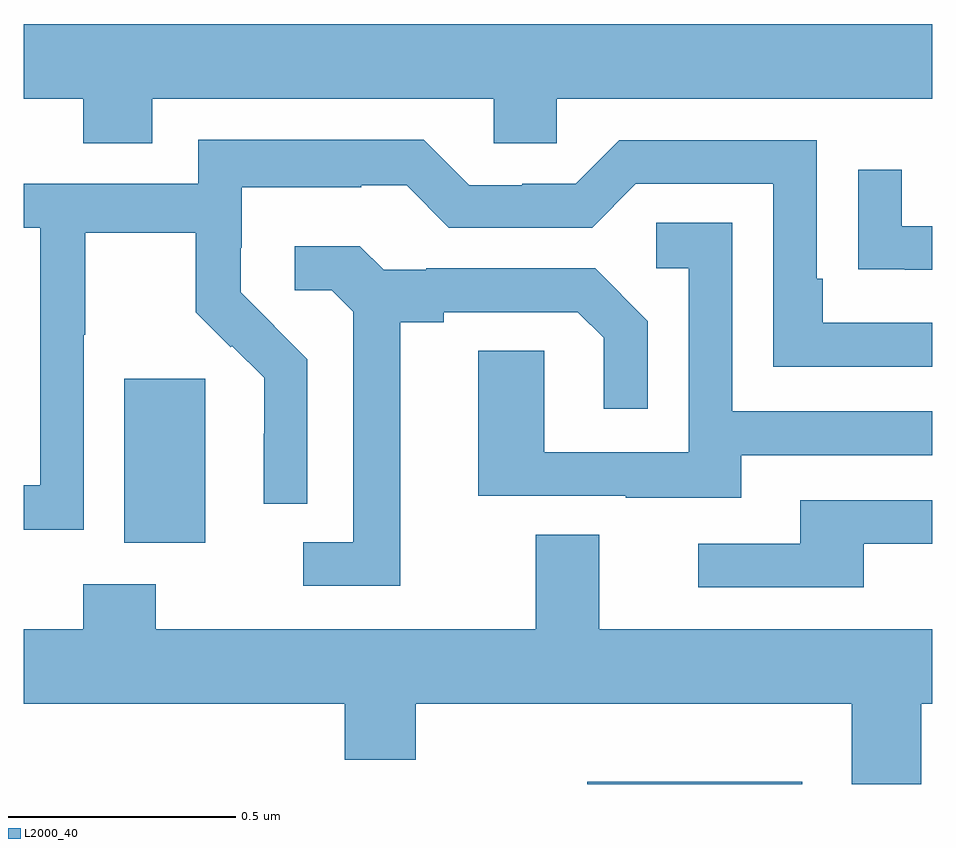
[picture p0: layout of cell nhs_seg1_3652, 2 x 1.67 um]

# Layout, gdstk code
import gdstk
lib = gdstk.Library(unit=1e-6, precision=1e-09)
def R(c, l, rs):  # rectangles x0, y0, x1, y1
    for r in rs: c.add(gdstk.rectangle(r[:2], r[2:], *l))
def P(c, l, *ps):  # polygons
    for p in ps: c.add(gdstk.Polygon(p, *l))
L2000_40 = (2000, 40)

nhs_seg1_3652 = lib.new_cell('nhs_seg1_3652')
R(nhs_seg1_3652, L2000_40, [(157.241,574.199,157.714,574.204), (156.221,574.73,156.4,575.091)])
P(nhs_seg1_3652, L2000_40, [(156.283,575.708),(157.035,575.708),(157.035,575.61),(157.173,575.61),(157.173,575.708),(158,575.708),(158,575.872),(156,575.872),(156,575.708),(156.131,575.708),(156.131,575.609),(156.283,575.609)],
  [(156.132,575.188),(156.135,575.188),(156.135,575.412),(156.379,575.412),(156.379,575.237),(156.456,575.16),(156.459,575.163),(156.53,575.093),(156.53,574.97),(156.528,574.97),(156.528,574.816),(156.624,574.816),(156.624,575.134),(156.551,575.207),(156.552,575.208),(156.478,575.282),(156.478,575.379),(156.48,575.379),(156.48,575.513),(156.743,575.513),(156.743,575.517),(156.843,575.517),(156.936,575.424),(157.251,575.424),(157.347,575.52),(157.65,575.52),(157.65,575.118),(158,575.118),(158,575.214),(157.759,575.214),(157.759,575.311),(157.746,575.311),(157.746,575.616),(157.311,575.616),(157.215,575.52),(157.097,575.52),(157.097,575.517),(156.981,575.517),(156.881,575.617),(156.384,575.617),(156.384,575.52),(156,575.52),(156,575.424),(156.036,575.424),(156.036,574.857),(156,574.857),(156,574.759),(156.132,574.759)],
  [(158,575.427),(157.933,575.427),(157.933,575.551),(157.837,575.551),(157.837,575.332),(157.939,575.332),(157.939,575.331),(158,575.331)],
  [(157.579,574.923),(158,574.923),(158,575.019),(157.56,575.019),(157.56,575.435),(157.392,575.435),(157.392,575.334),(157.464,575.334),(157.464,574.929),(157.146,574.929),(157.146,575.153),(157.001,575.153),(157.001,574.833),(157.325,574.833),(157.325,574.829),(157.579,574.829)],
  [(156.829,575.216),(156.925,575.216),(156.925,575.238),(157.22,575.238),(157.277,575.181),(157.277,575.025),(157.374,575.025),(157.374,575.218),(157.258,575.334),(156.886,575.334),(156.886,575.331),(156.792,575.331),(156.74,575.383),(156.597,575.383),(156.597,575.286),(156.678,575.286),(156.725,575.239),(156.725,574.731),(156.615,574.731),(156.615,574.635),(156.829,574.635)],
  [(157.849,574.728),(158,574.728),(158,574.824),(157.709,574.824),(157.709,574.728),(157.485,574.728),(157.485,574.632),(157.849,574.632)],
  [(157.976,574.376),(158,574.376),(158,574.54),(157.267,574.54),(157.267,574.748),(157.127,574.748),(157.127,574.54),(156.291,574.54),(156.291,574.639),(156.131,574.639),(156.131,574.54),(156,574.54),(156,574.376),(156.707,574.376),(156.707,574.252),(156.863,574.252),(156.863,574.376),(157.823,574.376),(157.823,574.199),(157.976,574.199)])

lib.write_gds('nhs_seg1_3652.gds')
